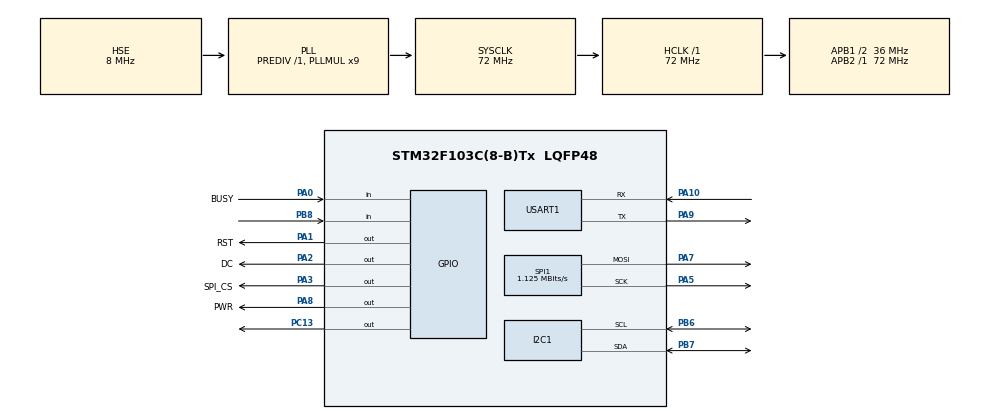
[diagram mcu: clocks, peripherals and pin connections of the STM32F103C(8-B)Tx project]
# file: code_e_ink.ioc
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Mcu.Family=STM32F1
Mcu.Name=STM32F103C(8-B)Tx
Mcu.Package=LQFP48
NVIC.PriorityGroup=NVIC_PRIORITYGROUP_4
NVIC.USART1_IRQn=true\:0\:0\:false\:false\:true\:true\:true\:true
PA0-WKUP.GPIO_Label=BUSY
PA0-WKUP.Signal=GPIO_Input
PA1.GPIO_Label=RST
PA1.Signal=GPIO_Output
PA10.Mode=Asynchronous
PA10.Signal=USART1_RX
PA13.Mode=Serial_Wire
PA13.Signal=SYS_JTMS-SWDIO
PA14.Mode=Serial_Wire
PA14.Signal=SYS_JTCK-SWCLK
PA2.GPIO_Label=DC
PA2.Signal=GPIO_Output
PA3.GPIO_Label=SPI_CS
PA3.Signal=GPIO_Output
PA5.Mode=TX_Only_Simplex_Unidirect_Master
PA5.Signal=SPI1_SCK
PA7.Mode=TX_Only_Simplex_Unidirect_Master
PA7.Signal=SPI1_MOSI
PA8.GPIO_Label=PWR
PA8.Signal=GPIO_Output
PA9.Mode=Asynchronous
PA9.Signal=USART1_TX
PB6.Mode=I2C
PB6.Signal=I2C1_SCL
PB7.Mode=I2C
PB7.Signal=I2C1_SDA
PB8.GPIO_PuPd=GPIO_PULLUP
PB8.Signal=GPIO_Input
PC13-TAMPER-RTC.Signal=GPIO_Output
PD0-OSC_IN.Mode=HSE-External-Oscillator
PD0-OSC_IN.Signal=RCC_OSC_IN
PD1-OSC_OUT.Mode=HSE-External-Oscillator
PD1-OSC_OUT.Signal=RCC_OSC_OUT
ProjectManager.HeapSize=0x200
ProjectManager.StackSize=0x400
ProjectManager.TargetToolchain=STM32CubeIDE
RCC.AHBFreq_Value=72000000
RCC.APB1CLKDivider=RCC_HCLK_DIV2
RCC.APB1Freq_Value=36000000
RCC.APB1TimFreq_Value=72000000
RCC.APB2Freq_Value=72000000
RCC.APB2TimFreq_Value=72000000
RCC.HCLKFreq_Value=72000000
RCC.PLLMUL=RCC_PLL_MUL9
RCC.PLLSourceVirtual=RCC_PLLSOURCE_HSE
RCC.SYSCLKFreq_VALUE=72000000
RCC.SYSCLKSource=RCC_SYSCLKSOURCE_PLLCLK
RCC.USBFreq_Value=72000000
SPI1.BaudRatePrescaler=SPI_BAUDRATEPRESCALER_64
SPI1.CalculateBaudRate=1.125 MBits/s
SPI1.Direction=SPI_DIRECTION_2LINES
SPI1.Mode=SPI_MODE_MASTER
SPI1.VirtualType=VM_MASTER
USART1.VirtualMode=VM_ASYNC
board=custom

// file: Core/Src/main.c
/* USER CODE BEGIN Header */
/**
  ******************************************************************************
  * @file           : main.c
  * @brief          : Main program body
  ******************************************************************************
  * @attention
  *
  * Copyright (c) 2025 STMicroelectronics.
  * All rights reserved.
  *
  * This software is licensed under terms that can be found in the LICENSE file
  * in the root directory of this software component.
  * If no LICENSE file comes with this software, it is provided AS-IS.
  *
  ******************************************************************************
  */
/* USER CODE END Header */
#include "main.h"

/* USER CODE BEGIN Includes */
#include "EPD_Test.h"
/* USER CODE END Includes */

/* USER CODE BEGIN PTD */
typedef struct {
	uint8_t seconds;
	uint8_t minutes;
	uint8_t hour;
	uint8_t dayofweek;
	uint8_t dayofmonth;
	uint8_t month;
	uint8_t year;
} TIME;

TIME time;
/* USER CODE END PTD */

/* USER CODE BEGIN PM */
#define DS3231_ADDRESS 0b1101000

/* USER CODE END PM */

I2C_HandleTypeDef hi2c1;

SPI_HandleTypeDef hspi1;

UART_HandleTypeDef huart1;

/* USER CODE BEGIN PV */
char buffer[15];
uint8_t rxData;
int flag_main_screen = 1;
uint8_t count = 5;
uint8_t count_view = 5;
uint8_t count_edit = 0;
int hour = 12;
int minute = 34;
int second = 0;
//system mode
SYSTEM_MODE sSystem_mode = DEFAULT_MODE;
// parameter alarm data setup mode
SYSTEM_PARAM_DATA_ALARM_SETUP_MODE sParam_data_alarm_setup_mode_1;
SYSTEM_PARAM_DATA_ALARM_SETUP_MODE sParam_data_alarm_setup_mode_2;
SYSTEM_PARAM_DATA_ALARM_SETUP_MODE sParam_data_alarm_setup_mode_3;
SYSTEM_PARAM_DATA_ALARM_SETUP_MODE sParam_data_alarm_setup_mode_4;
SYSTEM_PARAM_DATA_ALARM_SETUP_MODE sParam_data_alarm_setup_mode_5;
SYSTEM_PARAM_DATA_ALARM_SETUP_MODE sParam_data_alarm_setup_mode_6;
SYSTEM_PARAM_DATA_ALARM_SETUP_MODE sParam_data_alarm_setup_mode_7;
SYSTEM_PARAM_DATA_ALARM_SETUP_MODE sParam_data_alarm_setup_mode_8;
SYSTEM_PARAM_DATA_ALARM_SETUP_MODE sParam_data_alarm_setup_mode_9;
SYSTEM_PARAM_DATA_ALARM_SETUP_MODE sParam_data_alarm_setup_mode_10;
//struct for view mode
SYSTEM_PARAM_DATA_ALARM_VIEW_MODE sParam_data_alarm_view_mode = {
  &sParam_data_alarm_setup_mode_1,
  &sParam_data_alarm_setup_mode_2,
  &sParam_data_alarm_setup_mode_3,
  &sParam_data_alarm_setup_mode_4,
  &sParam_data_alarm_setup_mode_5,
  &sParam_data_alarm_setup_mode_6,
  &sParam_data_alarm_setup_mode_7,
  &sParam_data_alarm_setup_mode_8,
  &sParam_data_alarm_setup_mode_9,
  &sParam_data_alarm_setup_mode_10};
/* USER CODE END PV */

void SystemClock_Config(void);
static void MX_GPIO_Init(void);
static void MX_SPI1_Init(void);
static void MX_USART1_UART_Init(void);
static void MX_I2C1_Init(void);

/* USER CODE BEGIN 0 */
/*
void HAL_UART_RxCpltCallback(UART_HandleTypeDef *huart)
{
  if(huart->Instance==USART1)
  {
    if(rxData==78) // Ascii value of 'N' is 78 (N for NO)
    {
    	HAL_GPIO_WritePin(GPIOB, GPIO_PIN_3, 0);
    }
    else if (rxData==89) // Ascii value of 'Y' is 89 (Y for YES)
    {
    	HAL_GPIO_WritePin(GPIOB, GPIO_PIN_3, 1);
    }
    HAL_UART_Receive_IT(&huart1,&rxData,1); // Enabling interrupt receive again
  }
}
*/
uint8_t decToBcd(int val)
{
  return (uint8_t)( (val/10*16) + (val%10) );
}

int bcdToDec(uint8_t val)
{
  return (int)( (val/16*10) + (val%16) );
}

void Set_Time (uint8_t sec, uint8_t min, uint8_t hour, uint8_t dow, uint8_t dom, uint8_t month, uint8_t year)
{
	uint8_t set_time[7];
	set_time[0] = decToBcd(sec);
	set_time[1] = decToBcd(min);
	set_time[2] = decToBcd(hour);
	set_time[3] = decToBcd(dow);
	set_time[4] = decToBcd(dom);
	set_time[5] = decToBcd(month);
	set_time[6] = decToBcd(year);

	HAL_I2C_Mem_Write(&hi2c1, DS3231_ADDRESS, 0x00, 1, set_time, 7, 1000);
}

void Get_Time (void)
{
	uint8_t get_time[7];
	HAL_I2C_Mem_Read(&hi2c1, DS3231_ADDRESS, 0x00, 1, get_time, 7, 1000);
	time.seconds = bcdToDec(get_time[0]);
	time.minutes = bcdToDec(get_time[1]);
	time.hour = bcdToDec(get_time[2]);
	time.dayofweek = bcdToDec(get_time[3]);
	time.dayofmonth = bcdToDec(get_time[4]);
	time.month = bcdToDec(get_time[5]);
	time.year = bcdToDec(get_time[6]);
}

//HAL_UART_Receive_IT(&huart1, &rxData, 1);

/* USER CODE END 0 */

int main(void)
{

  /* MCU Configuration--------------------------------------------------------*/

  /* Reset of all peripherals, Initializes the Flash interface and the Systick. */
  HAL_Init();

  /* Configure the system clock */
  SystemClock_Config();

  /* Initialize all configured peripherals */
  MX_GPIO_Init();
  MX_SPI1_Init();
  MX_USART1_UART_Init();
  MX_I2C1_Init();
  /* USER CODE BEGIN 2 */
  Set_Time
   (
 	00,	// Second
 	03, // Minute
 	14, // Hour
 	6,  // Day of week
 	28,  // Day of month
 	2,  // Month
 	25  // Year (20**)
   );
 uint32_t previous_time = HAL_GetTick();
 //EPD_test();
  /* USER CODE END 2 */

  /* Infinite loop */
  while (1)
  {

    /* USER CODE BEGIN 3 */
	    Get_Time();
	    HAL_Delay(1000);
//	  if(HAL_GetTick() - previous_time > 1000)
//	  {
//		  HAL_GPIO_TogglePin(GPIOC, GPIO_PIN_13);
//		  second += 1;
//		  count++;
//      count_edit++ ;
//
//      switch (count)
//      {
//        case 0:
//        sSystem_mode = DEFAULT_MODE;
//        break;
//
//        case 1:
//        sSystem_mode = TIME_SETUP_MODE;
//        break;
//
//        case 2:
//        sSystem_mode = ALARM_SETUP_MODE;
//        break;
//
//        case 3:
//        sSystem_mode = ALARM_REVIEW_MODE;
//        break;
//
//        case 4:
//        sSystem_mode = ALARM_ACTIVE_MODE;
//        break;
//
//        case 5:
//        sSystem_mode = SYSTEM_OPTIONS_MODE;
//        break;
//
//      default:
//        break;
//      }
//		  previous_time = HAL_GetTick();
////		  default_mode(&flag_main_screen, hour, minute, second);
//      menu_set_up (&flag_main_screen, &sSystem_mode, &count);
//      //alarm_view_mode (&flag_main_screen, &count_view, &count, &sParam_data_alarm_view_mode);
//      //alarm_setup_mode(&flag_main_screen, &count_view, &count, &sParam_data_alarm_view_mode);
//      //alarm_setup_mode(&flag_main_screen, &count_view,  &count, &count_edit, &sParam_data_alarm_view_mode);
//      //time_setup_mode(&flag_main_screen, &count_edit, &sParam_data_alarm_setup_mode_1);
//	  }
//	 if(count == 0)
//	 {
//		//  flag_main_screen = 1;
//    //  count_view++;
//	 }
  }
  /* USER CODE END 3 */
}

void SystemClock_Config(void)
{
  RCC_OscInitTypeDef RCC_OscInitStruct = {0};
  RCC_ClkInitTypeDef RCC_ClkInitStruct = {0};

  /** Initializes the RCC Oscillators according to the specified parameters
  * in the RCC_OscInitTypeDef structure.
  */
  RCC_OscInitStruct.OscillatorType = RCC_OSCILLATORTYPE_HSE;
  RCC_OscInitStruct.HSEState = RCC_HSE_ON;
  RCC_OscInitStruct.HSEPredivValue = RCC_HSE_PREDIV_DIV1;
  RCC_OscInitStruct.HSIState = RCC_HSI_ON;
  RCC_OscInitStruct.PLL.PLLState = RCC_PLL_ON;
  RCC_OscInitStruct.PLL.PLLSource = RCC_PLLSOURCE_HSE;
  RCC_OscInitStruct.PLL.PLLMUL = RCC_PLL_MUL9;
  if (HAL_RCC_OscConfig(&RCC_OscInitStruct) != HAL_OK)
  {
    Error_Handler();
  }

  /** Initializes the CPU, AHB and APB buses clocks
  */
  RCC_ClkInitStruct.ClockType = RCC_CLOCKTYPE_HCLK|RCC_CLOCKTYPE_SYSCLK
                              |RCC_CLOCKTYPE_PCLK1|RCC_CLOCKTYPE_PCLK2;
  RCC_ClkInitStruct.SYSCLKSource = RCC_SYSCLKSOURCE_PLLCLK;
  RCC_ClkInitStruct.AHBCLKDivider = RCC_SYSCLK_DIV1;
  RCC_ClkInitStruct.APB1CLKDivider = RCC_HCLK_DIV2;
  RCC_ClkInitStruct.APB2CLKDivider = RCC_HCLK_DIV1;

  if (HAL_RCC_ClockConfig(&RCC_ClkInitStruct, FLASH_LATENCY_2) != HAL_OK)
  {
    Error_Handler();
  }
}

static void MX_I2C1_Init(void)
{

  hi2c1.Instance = I2C1;
  hi2c1.Init.ClockSpeed = 100000;
  hi2c1.Init.DutyCycle = I2C_DUTYCYCLE_2;
  hi2c1.Init.OwnAddress1 = 0;
  hi2c1.Init.AddressingMode = I2C_ADDRESSINGMODE_7BIT;
  hi2c1.Init.DualAddressMode = I2C_DUALADDRESS_DISABLE;
  hi2c1.Init.OwnAddress2 = 0;
  hi2c1.Init.GeneralCallMode = I2C_GENERALCALL_DISABLE;
  hi2c1.Init.NoStretchMode = I2C_NOSTRETCH_DISABLE;
  if (HAL_I2C_Init(&hi2c1) != HAL_OK)
  {
    Error_Handler();
  }

}

static void MX_SPI1_Init(void)
{

  /* SPI1 parameter configuration*/
  hspi1.Instance = SPI1;
  hspi1.Init.Mode = SPI_MODE_MASTER;
  hspi1.Init.Direction = SPI_DIRECTION_2LINES;
  hspi1.Init.DataSize = SPI_DATASIZE_8BIT;
  hspi1.Init.CLKPolarity = SPI_POLARITY_LOW;
  hspi1.Init.CLKPhase = SPI_PHASE_1EDGE;
  hspi1.Init.NSS = SPI_NSS_SOFT;
  hspi1.Init.BaudRatePrescaler = SPI_BAUDRATEPRESCALER_64;
  hspi1.Init.FirstBit = SPI_FIRSTBIT_MSB;
  hspi1.Init.TIMode = SPI_TIMODE_DISABLE;
  hspi1.Init.CRCCalculation = SPI_CRCCALCULATION_DISABLE;
  hspi1.Init.CRCPolynomial = 10;
  if (HAL_SPI_Init(&hspi1) != HAL_OK)
  {
    Error_Handler();
  }

}

static void MX_USART1_UART_Init(void)
{

  huart1.Instance = USART1;
  huart1.Init.BaudRate = 115200;
  huart1.Init.WordLength = UART_WORDLENGTH_8B;
  huart1.Init.StopBits = UART_STOPBITS_1;
  huart1.Init.Parity = UART_PARITY_NONE;
  huart1.Init.Mode = UART_MODE_TX_RX;
  huart1.Init.HwFlowCtl = UART_HWCONTROL_NONE;
  huart1.Init.OverSampling = UART_OVERSAMPLING_16;
  if (HAL_UART_Init(&huart1) != HAL_OK)
  {
    Error_Handler();
  }

}

static void MX_GPIO_Init(void)
{
  GPIO_InitTypeDef GPIO_InitStruct = {0};

  /* GPIO Ports Clock Enable */
  __HAL_RCC_GPIOC_CLK_ENABLE();
  __HAL_RCC_GPIOD_CLK_ENABLE();
  __HAL_RCC_GPIOA_CLK_ENABLE();
  __HAL_RCC_GPIOB_CLK_ENABLE();

  /*Configure GPIO pin Output Level */
  HAL_GPIO_WritePin(GPIOC, GPIO_PIN_13, GPIO_PIN_RESET);

  /*Configure GPIO pin Output Level */
  HAL_GPIO_WritePin(GPIOA, RST_Pin|DC_Pin|SPI_CS_Pin|PWR_Pin, GPIO_PIN_RESET);

  /*Configure GPIO pin : PC13 */
  GPIO_InitStruct.Pin = GPIO_PIN_13;
  GPIO_InitStruct.Mode = GPIO_MODE_OUTPUT_PP;
  GPIO_InitStruct.Pull = GPIO_NOPULL;
  GPIO_InitStruct.Speed = GPIO_SPEED_FREQ_LOW;
  HAL_GPIO_Init(GPIOC, &GPIO_InitStruct);

  /*Configure GPIO pin : BUSY_Pin */
  GPIO_InitStruct.Pin = BUSY_Pin;
  GPIO_InitStruct.Mode = GPIO_MODE_INPUT;
  GPIO_InitStruct.Pull = GPIO_NOPULL;
  HAL_GPIO_Init(BUSY_GPIO_Port, &GPIO_InitStruct);

  /*Configure GPIO pins : RST_Pin DC_Pin SPI_CS_Pin PWR_Pin */
  GPIO_InitStruct.Pin = RST_Pin|DC_Pin|SPI_CS_Pin|PWR_Pin;
  GPIO_InitStruct.Mode = GPIO_MODE_OUTPUT_PP;
  GPIO_InitStruct.Pull = GPIO_NOPULL;
  GPIO_InitStruct.Speed = GPIO_SPEED_FREQ_LOW;
  HAL_GPIO_Init(GPIOA, &GPIO_InitStruct);

  /*Configure GPIO pin : PB8 */
  GPIO_InitStruct.Pin = GPIO_PIN_8;
  GPIO_InitStruct.Mode = GPIO_MODE_INPUT;
  GPIO_InitStruct.Pull = GPIO_PULLUP;
  HAL_GPIO_Init(GPIOB, &GPIO_InitStruct);

}

/* USER CODE BEGIN 4 */
void HAL_UART_RxCpltCallback(UART_HandleTypeDef *huart)
{
  if(huart->Instance==USART1)
  {
    if(rxData==78) // Ascii value of 'N' is 78 (N for NO)
    {
    	HAL_GPIO_WritePin(GPIOB, GPIO_PIN_3, 0);
    }
    else if (rxData==89) // Ascii value of 'Y' is 89 (Y for YES)
    {
    	HAL_GPIO_WritePin(GPIOB, GPIO_PIN_3, 1);
    }
    HAL_UART_Receive_IT(&huart1,&rxData,1); // Enabling interrupt receive again
  }
}
/* USER CODE END 4 */

void Error_Handler(void)
{
  __disable_irq();
  while (1)
  {
  }
}
